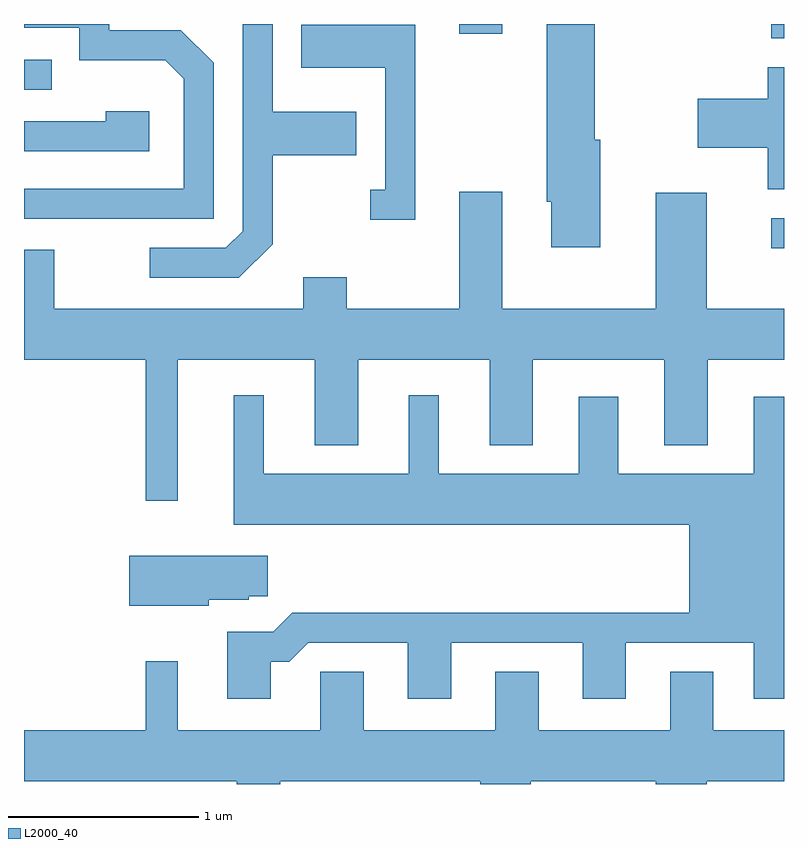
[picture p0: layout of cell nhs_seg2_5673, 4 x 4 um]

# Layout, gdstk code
import gdstk
lib = gdstk.Library(unit=1e-6, precision=1e-09)
def R(c, l, rs):  # rectangles x0, y0, x1, y1
    for r in rs: c.add(gdstk.rectangle(r[:2], r[2:], *l))
def P(c, l, *ps):  # polygons
    for p in ps: c.add(gdstk.Polygon(p, *l))
L2000_40 = (2000, 40)

nhs_seg2_5673 = lib.new_cell('nhs_seg2_5673')
R(nhs_seg2_5673, L2000_40, [(355.543,1106.621,355.611,1106.779), (351.611,1107.456,351.758,1107.614), (355.543,1107.726,355.611,1107.802), (353.901,1107.751,354.129,1107.802)])
P(nhs_seg2_5673, L2000_40, [(354.644,1107.194),(354.614,1107.194),(354.614,1107.802),(354.361,1107.802),(354.361,1106.866),(354.386,1106.866),(354.386,1106.626),(354.644,1106.626)],
  [(352.609,1107.597),(352.437,1107.769),(352.059,1107.769),(352.059,1107.802),(351.611,1107.802),(351.611,1107.781),(351.901,1107.781),(351.901,1107.611),(352.354,1107.611),(352.451,1107.514),(352.451,1106.934),(351.611,1106.934),(351.611,1106.776),(352.609,1106.776)],
  [(352.919,1106.644),(352.919,1107.111),(353.359,1107.111),(353.359,1107.339),(352.919,1107.339),(352.919,1107.802),(352.761,1107.802),(352.761,1106.712),(352.674,1106.624),(352.273,1106.624),(352.273,1106.466),(352.742,1106.466)],
  [(353.669,1107.799),(353.071,1107.799),(353.071,1107.571),(353.511,1107.571),(353.511,1106.929),(353.433,1106.929),(353.433,1106.771),(353.669,1106.771)],
  [(355.611,1107.574),(355.526,1107.574),(355.526,1107.409),(355.156,1107.409),(355.156,1107.151),(355.526,1107.151),(355.526,1106.931),(355.611,1106.931)],
  [(352.269,1107.344),(352.041,1107.344),(352.041,1107.289),(351.611,1107.289),(351.611,1107.131),(352.269,1107.131)],
  [(352.419,1106.036),(353.141,1106.036),(353.141,1105.586),(353.369,1105.586),(353.369,1106.036),(354.061,1106.036),(354.061,1105.586),(354.289,1105.586),(354.289,1106.036),(354.981,1106.036),(354.981,1105.586),(355.209,1105.586),(355.209,1106.036),(355.611,1106.036),(355.611,1106.304),(355.204,1106.304),(355.204,1106.914),(354.936,1106.914),(354.936,1106.304),(354.129,1106.304),(354.129,1106.919),(353.901,1106.919),(353.901,1106.304),(353.309,1106.304),(353.309,1106.469),(353.081,1106.469),(353.081,1106.304),(351.769,1106.304),(351.769,1106.614),(351.611,1106.614),(351.611,1106.036),(352.251,1106.036),(352.251,1105.293),(352.419,1105.293)],
  [(352.909,1104.446),(353.007,1104.446),(353.107,1104.546),(353.631,1104.546),(353.631,1104.251),(353.859,1104.251),(353.859,1104.546),(354.551,1104.546),(354.551,1104.251),(354.779,1104.251),(354.779,1104.546),(355.451,1104.546),(355.451,1104.251),(355.611,1104.251),(355.611,1105.839),(355.451,1105.839),(355.451,1105.434),(354.739,1105.434),(354.739,1105.839),(354.531,1105.839),(354.531,1105.434),(353.794,1105.434),(353.794,1105.848),(353.636,1105.848),(353.636,1105.434),(352.874,1105.434),(352.874,1105.848),(352.716,1105.848),(352.716,1105.166),(355.111,1105.166),(355.111,1104.704),(353.024,1104.704),(352.924,1104.604),(352.681,1104.604),(352.681,1104.251),(352.909,1104.251)],
  [(352.584,1104.771),(352.794,1104.771),(352.794,1104.791),(352.894,1104.791),(352.894,1105.004),(352.166,1105.004),(352.166,1104.741),(352.584,1104.741)],
  [(352.959,1103.816),(354.011,1103.816),(354.011,1103.802),(354.279,1103.802),(354.279,1103.816),(354.936,1103.816),(354.936,1103.802),(355.204,1103.802),(355.204,1103.816),(355.611,1103.816),(355.611,1104.084),(355.239,1104.084),(355.239,1104.394),(355.011,1104.394),(355.011,1104.084),(354.319,1104.084),(354.319,1104.394),(354.091,1104.394),(354.091,1104.084),(353.399,1104.084),(353.399,1104.394),(353.171,1104.394),(353.171,1104.084),(352.419,1104.084),(352.419,1104.448),(352.251,1104.448),(352.251,1104.084),(351.611,1104.084),(351.611,1103.816),(352.731,1103.816),(352.731,1103.802),(352.959,1103.802)])

lib.write_gds('nhs_seg2_5673.gds')
